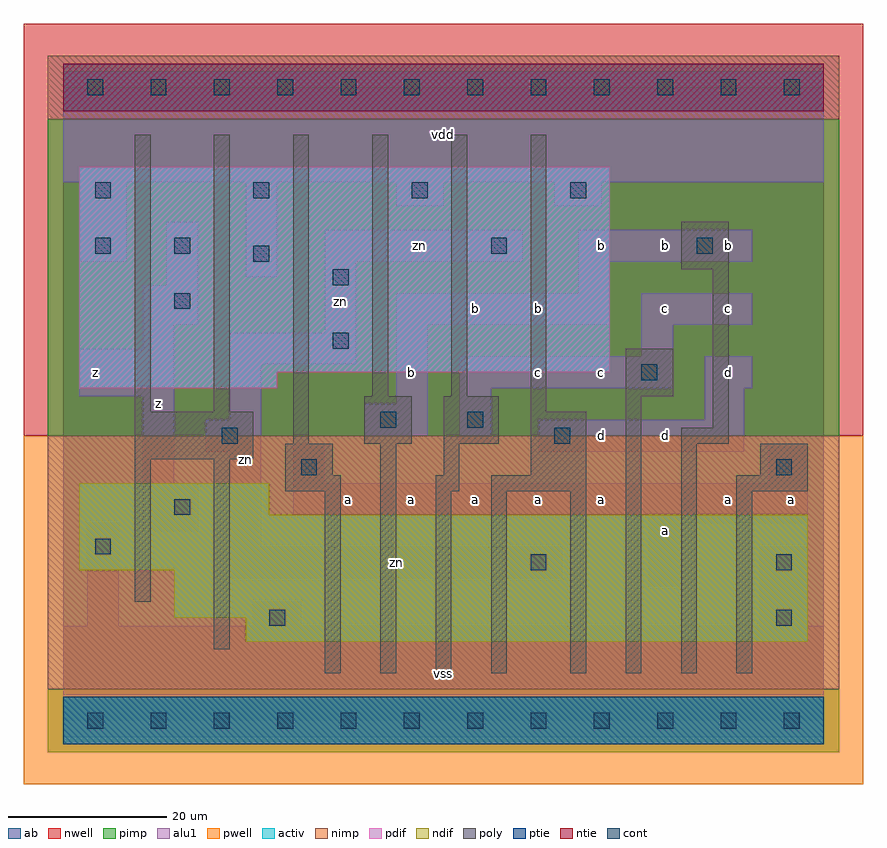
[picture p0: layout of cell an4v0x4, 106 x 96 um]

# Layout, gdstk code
import gdstk
lib = gdstk.Library(unit=1e-6, precision=1e-09)
def R(c, l, rs):  # rectangles x0, y0, x1, y1
    for r in rs: c.add(gdstk.rectangle(r[:2], r[2:], *l))
def A(c, l, x, y, w, h, nx, ny, dx, dy):  # array of equal rectangles
    R(c, l, [(x+i*dx, y+j*dy, x+i*dx+w, y+j*dy+h) for i in range(nx) for j in range(ny)])
ndif = (3, 0)
pdif = (4, 0)
ntie = (5, 0)
ptie = (6, 0)
cont = (25, 0)
pwell = (41, 0)
nwell = (42, 0)
activ = (43, 0)
pimp = (44, 0)
nimp = (45, 0)
poly = (46, 0)
alu1 = (49, 0)
ab = (63, 0)

an4v0x4 = lib.new_cell('an4v0x4')
R(an4v0x4, ndif, [(23,10,94,13), (14,13,94,19), (2,19,94,26), (2,26,26,30)])
R(an4v0x4, pdif, [(2,42,27,44), (2,44,69,70)])
R(an4v0x4, ntie, [(0,77,96,83)])
R(an4v0x4, ptie, [(0,-3,96,3)])
A(an4v0x4, cont, 3, -1, 2, 2, 12, 2, 8, 80)
A(an4v0x4, cont, 4, 66, 2, 2, 4, 1, 20, 0)
R(an4v0x4, cont, [(26,12,28,14), (90,12,92,14), (59,19,61,21), (90,19,92,21), (4,21,6,23), (14,26,16,28), (30,31,32,33), (90,31,92,33), (20,35,22,37), (62,35,64,37), (40,37,42,39), (51,37,53,39), (73,43,75,45), (34,47,36,49), (14,52,16,54), (34,55,36,57), (24,58,26,60), (4,59,6,61), (14,59,16,61), (54,59,56,61), (80,59,82,61)])
R(an4v0x4, pwell, [(-5,-8,101,36)])
R(an4v0x4, nwell, [(-5,36,101,88)])
R(an4v0x4, activ, [(0,-3,96,3), (23,10,94,13), (14,13,94,19), (2,19,94,26), (2,26,26,30), (2,42,27,44), (2,44,69,70), (0,77,96,83)])
R(an4v0x4, pimp, [(-2,-4,98,4), (-2,36,98,76)])
R(an4v0x4, nimp, [(-2,4,98,36), (-2,76,98,84)])
R(an4v0x4, poly, [(33,6,35,29), (40,6,42,35), (47,6,49,29), (54,6,56,29), (64,6,66,29), (71,6,73,41), (78,6,80,35), (85,6,87,29), (19,9,21,33), (9,15,11,33), (28,29,35,31), (47,29,50,31), (54,29,66,31), (85,29,94,31), (28,31,34,35), (48,31,50,35), (59,31,66,39), (88,31,94,35), (9,33,24,39), (29,35,31,74), (38,35,44,41), (48,35,55,41), (78,35,84,37), (82,37,84,57), (9,39,11,74), (19,39,21,74), (59,39,61,74), (39,41,41,74), (49,41,51,74), (71,41,77,47), (78,57,84,63)])
R(an4v0x4, alu1, [(0,-2,96,12), (3,12,7,25), (24,12,30,15), (88,12,94,22), (74,17,78,25), (21,18,63,22), (21,22,25,34), (10,24,17,30), (74,25,94,26), (29,26,94,30), (10,30,14,41), (29,30,33,35), (89,30,94,35), (18,34,25,38), (60,34,86,38), (50,35,54,42), (38,36,46,40), (21,38,25,45), (81,38,86,42), (42,40,46,50), (2,41,14,47), (50,42,77,46), (81,42,87,46), (21,45,37,49), (73,46,77,50), (10,47,14,50), (33,49,37,58), (10,50,17,55), (42,50,69,54), (73,50,87,54), (65,54,69,58), (13,55,17,63), (23,56,27,68), (2,58,8,68), (33,58,58,62), (65,58,87,62), (42,65,48,68), (62,65,68,68), (0,68,96,82)])
R(an4v0x4, ab, [(0,0,96,80)])
an4v0x4.add(gdstk.Label('zn', (23,33), layer=49, texttype=0))
an4v0x4.add(gdstk.Label('zn', (35,53), layer=49, texttype=0))
an4v0x4.add(gdstk.Label('zn', (42,20), layer=49, texttype=0))
an4v0x4.add(gdstk.Label('zn', (45,60), layer=49, texttype=0))
an4v0x4.add(gdstk.Label('z', (12,40), layer=49, texttype=0))
an4v0x4.add(gdstk.Label('z', (4,44), layer=49, texttype=0))
an4v0x4.add(gdstk.Label('vss', (48,6), layer=49, texttype=0))
an4v0x4.add(gdstk.Label('a', (36,28), layer=49, texttype=0))
an4v0x4.add(gdstk.Label('a', (52,28), layer=49, texttype=0))
an4v0x4.add(gdstk.Label('a', (44,28), layer=49, texttype=0))
an4v0x4.add(gdstk.Label('b', (44,44), layer=49, texttype=0))
an4v0x4.add(gdstk.Label('b', (52,52), layer=49, texttype=0))
an4v0x4.add(gdstk.Label('vdd', (48,74), layer=49, texttype=0))
an4v0x4.add(gdstk.Label('a', (60,28), layer=49, texttype=0))
an4v0x4.add(gdstk.Label('a', (76,24), layer=49, texttype=0))
an4v0x4.add(gdstk.Label('a', (68,28), layer=49, texttype=0))
an4v0x4.add(gdstk.Label('c', (60,44), layer=49, texttype=0))
an4v0x4.add(gdstk.Label('d', (76,36), layer=49, texttype=0))
an4v0x4.add(gdstk.Label('c', (68,44), layer=49, texttype=0))
an4v0x4.add(gdstk.Label('d', (68,36), layer=49, texttype=0))
an4v0x4.add(gdstk.Label('c', (76,52), layer=49, texttype=0))
an4v0x4.add(gdstk.Label('b', (60,52), layer=49, texttype=0))
an4v0x4.add(gdstk.Label('b', (76,60), layer=49, texttype=0))
an4v0x4.add(gdstk.Label('b', (68,60), layer=49, texttype=0))
an4v0x4.add(gdstk.Label('a', (92,28), layer=49, texttype=0))
an4v0x4.add(gdstk.Label('a', (84,28), layer=49, texttype=0))
an4v0x4.add(gdstk.Label('d', (84,44), layer=49, texttype=0))
an4v0x4.add(gdstk.Label('c', (84,52), layer=49, texttype=0))
an4v0x4.add(gdstk.Label('b', (84,60), layer=49, texttype=0))

lib.write_gds('an4v0x4.gds')
